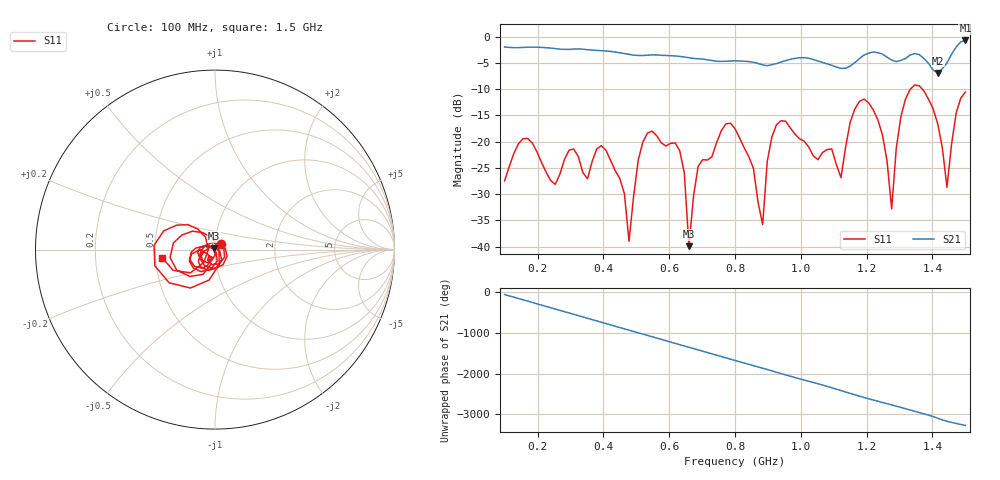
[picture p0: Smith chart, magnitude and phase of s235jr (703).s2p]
! NanoVNA-App
! Date: 2025-09-25 15:09:38
! Start: 100MHz Stop: 1,5GHz Points: 101
! S-Parameter data: F S11 S21 S12 S22
# Hz S RI R 50
!  Frequency  S11_Real  S11_Imag  S21_Real  S21_Imag  S12_Real  S12_Imag  S22_Real  S22_Imag
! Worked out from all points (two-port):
!   101 points, 100 MHz to 1.5 GHz, reference 50 ohm
!   highest |S21| = -0.71 dB at 1.5 GHz (marker M1); lowest = -6.9 dB at 1.416 GHz (marker M2)
!   |S21| within 3 dB of the highest: start of sweep to 626.3 MHz; 1.187 GHz to 1.258 GHz (70.05 MHz wide, 5.73 % of centre) (the widest 2 of 4)
!   lowest |S11| = -39.9 dB at 660 MHz (marker M3), VSWR 1.02, Z = 49.2 + j0.618 ohm
!   |S11| at or under -10 dB: start of sweep to 1.332 GHz; 1.369 GHz to end of sweep
!   S12 and S22 are empty: the file has one direction only
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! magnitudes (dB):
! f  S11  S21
! 100 MHz  -27.5  -2.0
! 156 MHz  -19.4  -2.0
! 338 MHz  -25.9  -2.4
! 408 MHz  -21.6  -2.7
! 478 MHz  -39.0  -3.4
! 520 MHz  -20.1  -3.6
! 576 MHz  -20.2  -3.5
! 632 MHz  -21.7  -3.7
! 660 MHz  -39.9  -4.0
! 688 MHz  -24.7  -4.2
! 800 MHz  -17.5  -4.6
! 884 MHz  -35.8  -5.4
! 926 MHz  -16.8  -5.1
! 1.038 GHz  -22.7  -4.3
! 1.122 GHz  -26.8  -6.0
! 1.192 GHz  -11.9  -3.5
! 1.248 GHz  -18.7  -3.3
! 1.276 GHz  -32.8  -4.4
! 1.332 GHz  -10.0  -3.5
! 1.416 GHz  -16.6  -6.9
! 1.444 GHz  -28.7  -5.0
! 1.5 GHz  -10.6  -0.7
